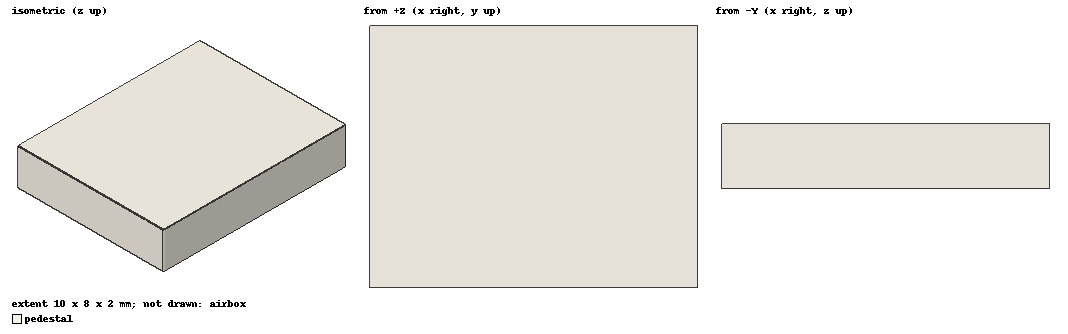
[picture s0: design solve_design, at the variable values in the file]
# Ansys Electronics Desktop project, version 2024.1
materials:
  vacuum: permittivity=1
  pec: conductivity=1e+30
  air: permittivity=1.0006 permeability=1.0000004

design solve_design (HFSS, HFSS Modal Network, model units mm)
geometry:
  pedestal [pec] = box(corner=(0mm, 0mm, 0mm), size=(10mm, 8mm, 2mm))
  airbox [air] = box(corner=(-15mm, -15mm, -15mm), size=(40mm, 38mm, 33mm))
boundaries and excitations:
  Rad__7YWOYW: Radiation Objects=airbox
  Port1: Wave Port Faces=pedestal.face(+z) WavePortType=Modal NumModes=1 Modes{Mode1{CharImp=Zpi RenormImp=50ohm}}
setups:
  Setup1: HfssDriven Frequency=2.4GHz MaxDeltaS=0.05 MaximumPasses=6 MinimumPasses=1 MinimumConvergedPasses=1 PercentRefinement=30 BasisOrder=1 PortAccuracy=2 DrivenSolverType="Direct Solver"
    sweep Sweep_1BKNJB: 2GHz to 3GHz, 101 points; Type=Discrete SaveFields
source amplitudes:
  Port1:1: 1W 0deg
